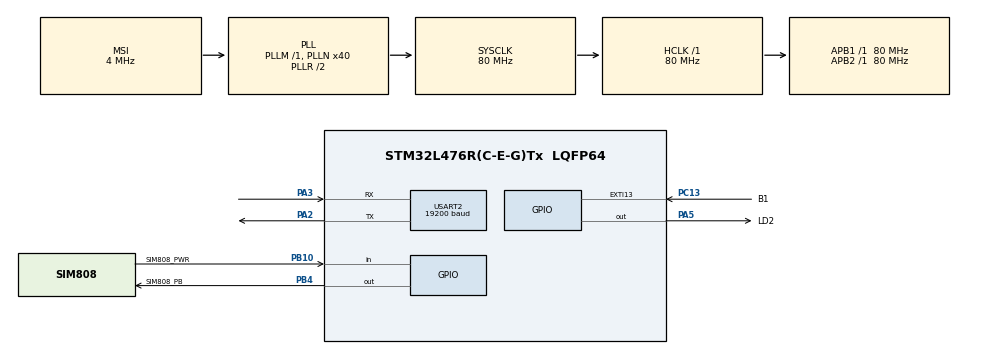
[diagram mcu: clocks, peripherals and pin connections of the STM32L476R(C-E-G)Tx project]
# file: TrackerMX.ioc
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Dma.Request0=USART2_RX
Dma.Request1=USART2_TX
Dma.USART2_RX.0.Direction=DMA_PERIPH_TO_MEMORY
Dma.USART2_RX.0.Instance=DMA1_Channel6
Dma.USART2_RX.0.MemDataAlignment=DMA_MDATAALIGN_BYTE
Dma.USART2_RX.0.MemInc=DMA_MINC_ENABLE
Dma.USART2_RX.0.Mode=DMA_CIRCULAR
Dma.USART2_RX.0.PeriphDataAlignment=DMA_PDATAALIGN_BYTE
Dma.USART2_RX.0.PeriphInc=DMA_PINC_DISABLE
Dma.USART2_RX.0.Priority=DMA_PRIORITY_LOW
Dma.USART2_TX.1.Direction=DMA_MEMORY_TO_PERIPH
Dma.USART2_TX.1.Instance=DMA1_Channel7
Dma.USART2_TX.1.MemDataAlignment=DMA_MDATAALIGN_BYTE
Dma.USART2_TX.1.MemInc=DMA_MINC_ENABLE
Dma.USART2_TX.1.Mode=DMA_CIRCULAR
Dma.USART2_TX.1.PeriphDataAlignment=DMA_PDATAALIGN_BYTE
Dma.USART2_TX.1.PeriphInc=DMA_PINC_DISABLE
Dma.USART2_TX.1.Priority=DMA_PRIORITY_LOW
Mcu.Family=STM32L4
Mcu.Name=STM32L476R(C-E-G)Tx
Mcu.Package=LQFP64
NVIC.DMA1_Channel6_IRQn=true\:15\:0\:true\:false\:true\:false
NVIC.DMA1_Channel7_IRQn=true\:15\:0\:true\:false\:true\:false
NVIC.EXTI15_10_IRQn=true\:15\:0\:true\:false\:true\:true
NVIC.PriorityGroup=NVIC_PRIORITYGROUP_4
PA13\ (JTMS-SWDIO).Mode=Serial_Wire
PA13\ (JTMS-SWDIO).Signal=SYS_JTMS-SWDIO
PA14\ (JTCK-SWCLK).Mode=Serial_Wire
PA14\ (JTCK-SWCLK).Signal=SYS_JTCK-SWCLK
PA2.GPIO_Mode=GPIO_MODE_AF_PP
PA2.GPIO_ModeDefaultPP=GPIO_MODE_AF_PP
PA2.GPIO_PuPd=GPIO_NOPULL
PA2.GPIO_Speed=GPIO_SPEED_FREQ_VERY_HIGH
PA2.Mode=Asynchronous
PA2.Signal=USART2_TX
PA3.GPIO_Mode=GPIO_MODE_AF_PP
PA3.GPIO_ModeDefaultPP=GPIO_MODE_AF_PP
PA3.GPIO_PuPd=GPIO_NOPULL
PA3.GPIO_Speed=GPIO_SPEED_FREQ_VERY_HIGH
PA3.Mode=Asynchronous
PA3.Signal=USART2_RX
PA5.GPIO_Label=LD2
PA5.GPIO_ModeDefaultOutputPP=GPIO_MODE_OUTPUT_PP
PA5.GPIO_PuPd=GPIO_NOPULL
PA5.GPIO_Speed=GPIO_SPEED_FREQ_LOW
PA5.PinState=GPIO_PIN_RESET
PA5.Signal=GPIO_Output
PB10.GPIO_Label=SIM808_PWR
PB10.GPIO_Mode=GPIO_MODE_INPUT
PB10.GPIO_PuPd=GPIO_NOPULL
PB10.Signal=GPIO_Input
PB3\ (JTDO-TRACESWO).Signal=SYS_JTDO-SWO
PB4\ (NJTRST).GPIO_Label=SIM808_PB
PB4\ (NJTRST).GPIO_ModeDefaultOutputPP=GPIO_MODE_OUTPUT_PP
PB4\ (NJTRST).GPIO_PuPd=GPIO_NOPULL
PB4\ (NJTRST).GPIO_Speed=GPIO_SPEED_FREQ_LOW
PB4\ (NJTRST).PinState=GPIO_PIN_RESET
PB4\ (NJTRST).Signal=GPIO_Output
PC13.GPIO_Label=B1
PC13.GPIO_ModeDefaultEXTI=GPIO_MODE_IT_RISING
PC13.GPIO_PuPd=GPIO_NOPULL
PC13.Signal=GPXTI13
PC14-OSC32_IN\ (PC14).Signal=RCC_OSC32_IN
PC15-OSC32_OUT\ (PC15).Signal=RCC_OSC32_OUT
PH0-OSC_IN\ (PH0).Signal=RCC_OSC_IN
PH1-OSC_OUT\ (PH1).Signal=RCC_OSC_OUT
ProjectManager.HeapSize=0x200
ProjectManager.StackSize=0x400
ProjectManager.TargetToolchain=SW4STM32
RCC.AHBFreq_Value=80000000
RCC.APB1Freq_Value=80000000
RCC.APB1TimFreq_Value=80000000
RCC.APB2Freq_Value=80000000
RCC.APB2TimFreq_Value=80000000
RCC.CortexFreq_Value=80000000
RCC.HCLKFreq_Value=80000000
RCC.HSE_VALUE=8000000
RCC.HSI_VALUE=16000000
RCC.LSE_VALUE=32768
RCC.MSI_VALUE=4000000
RCC.PLLN=40
RCC.SYSCLKFreq_VALUE=80000000
RCC.SYSCLKSource=RCC_SYSCLKSOURCE_PLLCLK
RCC.VCOOutputFreq_Value=160000000
USART2.BaudRate=19200
USART2.VirtualMode-Asynchronous=VM_ASYNC
USART2.WordLength=WORDLENGTH_8B
board=NUCLEO-L476RG

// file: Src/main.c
/**
 ******************************************************************************
 * @file           : main.c
 * @brief          : Main program body
 ******************************************************************************
 ** This notice applies to any and all portions of this file
 * that are not between comment pairs USER CODE BEGIN and
 * USER CODE END. Other portions of this file, whether
 * inserted by the user or by software development tools
 * are owned by their respective copyright owners.
 *
 * COPYRIGHT(c) 2018 STMicroelectronics
 *
 * Redistribution and use in source and binary forms, with or without modification,
 * are permitted provided that the following conditions are met:
 *   1. Redistributions of source code must retain the above copyright notice,
 *      this list of conditions and the following disclaimer.
 *   2. Redistributions in binary form must reproduce the above copyright notice,
 *      this list of conditions and the following disclaimer in the documentation
 *      and/or other materials provided with the distribution.
 *   3. Neither the name of STMicroelectronics nor the names of its contributors
 *      may be used to endorse or promote products derived from this software
 *      without specific prior written permission.
 *
 * THIS SOFTWARE IS PROVIDED BY THE COPYRIGHT HOLDERS AND CONTRIBUTORS "AS IS"
 * AND ANY EXPRESS OR IMPLIED WARRANTIES, INCLUDING, BUT NOT LIMITED TO, THE
 * IMPLIED WARRANTIES OF MERCHANTABILITY AND FITNESS FOR A PARTICULAR PURPOSE ARE
 * DISCLAIMED. IN NO EVENT SHALL THE COPYRIGHT HOLDER OR CONTRIBUTORS BE LIABLE
 * FOR ANY DIRECT, INDIRECT, INCIDENTAL, SPECIAL, EXEMPLARY, OR CONSEQUENTIAL
 * DAMAGES (INCLUDING, BUT NOT LIMITED TO, PROCUREMENT OF SUBSTITUTE GOODS OR
 * SERVICES; LOSS OF USE, DATA, OR PROFITS; OR BUSINESS INTERRUPTION) HOWEVER
 * CAUSED AND ON ANY THEORY OF LIABILITY, WHETHER IN CONTRACT, STRICT LIABILITY,
 * OR TORT (INCLUDING NEGLIGENCE OR OTHERWISE) ARISING IN ANY WAY OUT OF THE USE
 * OF THIS SOFTWARE, EVEN IF ADVISED OF THE POSSIBILITY OF SUCH DAMAGE.
 *
 ******************************************************************************
 */
#include "main.h"
#include "stm32l4xx_hal.h"

/* USER CODE BEGIN Includes */
#include "string.h"
#include "minmea.h"
/* USER CODE END Includes */

UART_HandleTypeDef huart2;
DMA_HandleTypeDef hdma_usart2_rx;
DMA_HandleTypeDef hdma_usart2_tx;

/* USER CODE BEGIN PV */
/* Private variables ---------------------------------------------------------*/
__IO ITStatus UartReady = RESET;
__IO uint32_t UserButtonStatus = 0; /* set to 1 after User Button interrupt  */
static uint8_t rx_dma_circ_buf[CIRC_BUF_SZ];
static uint32_t rd_ptr;
char OK_FLAG = 0;
char STAT_FLAG = 0;
char ERR_FLAG = 0;
char CONN_FLAG = 0;
char data_string[75];
uint8_t pos = 0;
uint8_t loops = 0;
uint8_t rxString[MAXLEN];
uint8_t rmc_raw[MAXLEN];
struct minmea_sentence_rmc frame_rmc;
struct minmea_sentence_gga frame_gga;
struct minmea_sentence_gsa frame_gsa;
struct minmea_sentence_gsv frame_gsv;

/* USER CODE END PV */

void SystemClock_Config(void);
static void MX_GPIO_Init(void);
static void MX_DMA_Init(void);
static void MX_USART2_UART_Init(void);

/* USER CODE BEGIN PFP */
/* Private function prototypes -----------------------------------------------*/
extern void initialise_monitor_handles(void);
void send(char string[]);     //TODO: set up struct to hold return of command
void http_get(char data[]);
void gprs_connect(void);
void blink(uint8_t n);
static void msgrx_parse(void);
//void executeSerialCommand(uint8_t string[]);
/* USER CODE END PFP */

int main(void) {

	/* MCU Configuration----------------------------------------------------------*/

	/* Reset of all peripherals, Initializes the Flash interface and the Systick. */
	HAL_Init();

	/* Configure the system clock */
	SystemClock_Config();

	/* Initialize all configured peripherals */
	MX_GPIO_Init();
	MX_DMA_Init();
	MX_USART2_UART_Init();
	/* USER CODE BEGIN 2 */
	/* enable printing messages to console */
	//initialise_monitor_handles();
	while (UserButtonStatus == 0) {
		HAL_GPIO_WritePin(LD2_GPIO_Port, LD2_Pin, SET);
		HAL_Delay(50);
		HAL_GPIO_WritePin(LD2_GPIO_Port, LD2_Pin, RESET);
		HAL_Delay(50);
	}

	/* Start the receiver */
	__HAL_UART_SEND_REQ(&huart2, UART_RXDATA_FLUSH_REQUEST);
	HAL_UART_Receive_DMA(&huart2, rx_dma_circ_buf, CIRC_BUF_SZ);
	rd_ptr = 0;

	//printf("Init\n");
	blink(5);

	HAL_Delay(1000);
	blink(5);

	HAL_GPIO_WritePin(LD2_GPIO_Port, LD2_Pin, GPIO_PIN_RESET);
	//printf("Start the module!\n");
	send("\n\rAT+CGPSOUT=0\n\r");
	//printf("[SEND] AT+CGPSOUT=0\n");
	send("\n\rAT\n\r");

	//printf("[SEND] AT\n");
	send("\n\rAT+CGPSPWR=1\n\r");
	//printf("[SEND] AT+CGPSPWR=1\n");
	//send("\n\rAT+CGPSRST=0\n\r");
	////printf("[SEND] AT+CGPSRST=0\n");
	send("\n\rAT+CGPSOUT=255\n\r");
	//printf("[SEND] AT+CGPSOUT=255\n");
	HAL_Delay(500);
	msgrx_parse();

	/* USER CODE END 2 */
	/* Infinite loop */
	/* USER CODE BEGIN WHILE */
	while (1) {
		uint8_t i = 0;
		HAL_Delay(1000);
		msgrx_parse();
		HAL_Delay(1000);

		for (i = 0; i < frame_gsv.total_sats; i++) {
			HAL_GPIO_WritePin(LD2_GPIO_Port, LD2_Pin, SET);
			HAL_Delay(200);
			HAL_GPIO_WritePin(LD2_GPIO_Port, LD2_Pin, RESET);
			HAL_Delay(200);
			if (i > 3) {
				break;
			}
		}
		msgrx_parse();
		//printf(rmc_raw);
		//printf("  (RAW) \n");
		/*

		 sprintf(data_string,
		 "%02i%02i%02i.000,%09.4f,%010.4f,%.1f,%.1f,%i,%.2f,%.2f,%.2f,%02i%02i%02i,%02i",
		 frame_rmc.time.hours, frame_rmc.time.minutes,
		 frame_rmc.time.seconds, minmea_tofloat(&frame_rmc.latitude),
		 minmea_tofloat(&frame_rmc.longitude),
		 minmea_tofloat(&frame_gga.hdop),
		 minmea_tofloat(&frame_gga.altitude), frame_gsa.fix_type,
		 minmea_tofloat(&frame_rmc.course),
		 minmea_tofloat(&frame_rmc.speed) * 1.852001,
		 minmea_tofloat(&frame_rmc.speed), frame_rmc.date.day,
		 frame_rmc.date.month, frame_rmc.date.year,
		 frame_gga.satellites_tracked);
		 */
		if (frame_gsa.fix_type == 3 || frame_gsa.fix_type == 2) {
			send("\n\rAT+CGPSOUT=0\n\r");
			//printf("[SEND] AT+CGPSOUT=0\n"); //Stop GPS Data output to free up serial bus.
			//printf("[SEND] AT+SAPBR=2,1\n");
			send("AT+SAPBR=2,1\n\r");
			if (CONN_FLAG == 0 || CONN_FLAG == 3) {
				gprs_connect();
				CONN_FLAG = 0;
			}
			http_get(rmc_raw);
			send("\n\rAT+CGPSOUT=255\n\r");
			//printf("[SEND] AT+CGPSOUT=255\n");
		}

		if (loops > 600 && frame_gga.satellites_tracked < 1) {
			//printf("[SEND] AT+CGPSRST=0\n");
			send("AT+CGPSRST=0\r\n");
			loops = 0;
		}
		loops++;

		/* USER CODE END WHILE */

	}
}
void SystemClock_Config(void) {

	RCC_OscInitTypeDef RCC_OscInitStruct;
	RCC_ClkInitTypeDef RCC_ClkInitStruct;
	RCC_PeriphCLKInitTypeDef PeriphClkInit;

	/**Initializes the CPU, AHB and APB busses clocks
	 */
	RCC_OscInitStruct.OscillatorType = RCC_OSCILLATORTYPE_MSI;
	RCC_OscInitStruct.MSIState = RCC_MSI_ON;
	RCC_OscInitStruct.MSICalibrationValue = 0;
	RCC_OscInitStruct.MSIClockRange = RCC_MSIRANGE_6;
	RCC_OscInitStruct.PLL.PLLState = RCC_PLL_ON;
	RCC_OscInitStruct.PLL.PLLSource = RCC_PLLSOURCE_MSI;
	RCC_OscInitStruct.PLL.PLLM = 1;
	RCC_OscInitStruct.PLL.PLLN = 40;
	RCC_OscInitStruct.PLL.PLLP = RCC_PLLP_DIV7;
	RCC_OscInitStruct.PLL.PLLQ = RCC_PLLQ_DIV2;
	RCC_OscInitStruct.PLL.PLLR = RCC_PLLR_DIV2;
	if (HAL_RCC_OscConfig(&RCC_OscInitStruct) != HAL_OK) {
		_Error_Handler(__FILE__, __LINE__);
	}

	/**Initializes the CPU, AHB and APB busses clocks
	 */
	RCC_ClkInitStruct.ClockType = RCC_CLOCKTYPE_HCLK | RCC_CLOCKTYPE_SYSCLK
			| RCC_CLOCKTYPE_PCLK1 | RCC_CLOCKTYPE_PCLK2;
	RCC_ClkInitStruct.SYSCLKSource = RCC_SYSCLKSOURCE_PLLCLK;
	RCC_ClkInitStruct.AHBCLKDivider = RCC_SYSCLK_DIV1;
	RCC_ClkInitStruct.APB1CLKDivider = RCC_HCLK_DIV1;
	RCC_ClkInitStruct.APB2CLKDivider = RCC_HCLK_DIV1;

	if (HAL_RCC_ClockConfig(&RCC_ClkInitStruct, FLASH_LATENCY_4) != HAL_OK) {
		_Error_Handler(__FILE__, __LINE__);
	}

	PeriphClkInit.PeriphClockSelection = RCC_PERIPHCLK_USART2;
	PeriphClkInit.Usart2ClockSelection = RCC_USART2CLKSOURCE_PCLK1;
	if (HAL_RCCEx_PeriphCLKConfig(&PeriphClkInit) != HAL_OK) {
		_Error_Handler(__FILE__, __LINE__);
	}

	/**Configure the main internal regulator output voltage
	 */
	if (HAL_PWREx_ControlVoltageScaling(PWR_REGULATOR_VOLTAGE_SCALE1)
			!= HAL_OK) {
		_Error_Handler(__FILE__, __LINE__);
	}

	/**Configure the Systick interrupt time
	 */
	HAL_SYSTICK_Config(HAL_RCC_GetHCLKFreq() / 1000);

	/**Configure the Systick
	 */
	HAL_SYSTICK_CLKSourceConfig(SYSTICK_CLKSOURCE_HCLK);

	/* SysTick_IRQn interrupt configuration */
	HAL_NVIC_SetPriority(SysTick_IRQn, 0, 0);
}

/* USART2 init function */
static void MX_USART2_UART_Init(void) {

	huart2.Instance = USART2;
	huart2.Init.BaudRate = 19200;
	huart2.Init.WordLength = UART_WORDLENGTH_8B;
	huart2.Init.StopBits = UART_STOPBITS_1;
	huart2.Init.Parity = UART_PARITY_NONE;
	huart2.Init.Mode = UART_MODE_TX_RX;
	huart2.Init.HwFlowCtl = UART_HWCONTROL_NONE;
	huart2.Init.OverSampling = UART_OVERSAMPLING_16;
	huart2.Init.OneBitSampling = UART_ONE_BIT_SAMPLE_DISABLE;
	huart2.AdvancedInit.AdvFeatureInit = UART_ADVFEATURE_NO_INIT;
	if (HAL_UART_Init(&huart2) != HAL_OK) {
		_Error_Handler(__FILE__, __LINE__);
	}

}

static void MX_DMA_Init(void) {
	/* DMA controller clock enable */
	__HAL_RCC_DMA1_CLK_ENABLE()
	;

	/* DMA interrupt init */
	/* DMA1_Channel6_IRQn interrupt configuration */
	HAL_NVIC_SetPriority(DMA1_Channel6_IRQn, 15, 0);
	HAL_NVIC_EnableIRQ(DMA1_Channel6_IRQn);
	/* DMA1_Channel7_IRQn interrupt configuration */
	HAL_NVIC_SetPriority(DMA1_Channel7_IRQn, 15, 0);
	HAL_NVIC_EnableIRQ(DMA1_Channel7_IRQn);

}

/** Configure pins as
 * Analog
 * Input
 * Output
 * EVENT_OUT
 * EXTI
 * Free pins are configured automatically as Analog (this feature is enabled through
 * the Code Generation settings)
 */
static void MX_GPIO_Init(void) {

	GPIO_InitTypeDef GPIO_InitStruct;

	/* GPIO Ports Clock Enable */
	__HAL_RCC_GPIOC_CLK_ENABLE()
	;
	__HAL_RCC_GPIOH_CLK_ENABLE()
	;
	__HAL_RCC_GPIOA_CLK_ENABLE()
	;
	__HAL_RCC_GPIOB_CLK_ENABLE()
	;
	__HAL_RCC_GPIOD_CLK_ENABLE()
	;

	/*Configure GPIO pin Output Level */
	HAL_GPIO_WritePin(LD2_GPIO_Port, LD2_Pin, GPIO_PIN_RESET);

	/*Configure GPIO pin Output Level */
	HAL_GPIO_WritePin(SIM808_PB_GPIO_Port, SIM808_PB_Pin, GPIO_PIN_RESET);

	/*Configure GPIO pin : B1_Pin */
	GPIO_InitStruct.Pin = B1_Pin;
	GPIO_InitStruct.Mode = GPIO_MODE_IT_RISING;
	GPIO_InitStruct.Pull = GPIO_NOPULL;
	HAL_GPIO_Init(B1_GPIO_Port, &GPIO_InitStruct);

	/*Configure GPIO pins : PC0 PC1 PC2 PC3
	 PC4 PC5 PC6 PC7
	 PC8 PC9 PC10 PC11
	 PC12 */
	GPIO_InitStruct.Pin = GPIO_PIN_0 | GPIO_PIN_1 | GPIO_PIN_2 | GPIO_PIN_3
			| GPIO_PIN_4 | GPIO_PIN_5 | GPIO_PIN_6 | GPIO_PIN_7 | GPIO_PIN_8
			| GPIO_PIN_9 | GPIO_PIN_10 | GPIO_PIN_11 | GPIO_PIN_12;
	GPIO_InitStruct.Mode = GPIO_MODE_ANALOG;
	GPIO_InitStruct.Pull = GPIO_NOPULL;
	HAL_GPIO_Init(GPIOC, &GPIO_InitStruct);

	/*Configure GPIO pins : PA0 PA1 PA4 PA6
	 PA7 PA8 PA9 PA10
	 PA11 PA12 PA15 */
	GPIO_InitStruct.Pin = GPIO_PIN_0 | GPIO_PIN_1 | GPIO_PIN_4 | GPIO_PIN_6
			| GPIO_PIN_7 | GPIO_PIN_8 | GPIO_PIN_9 | GPIO_PIN_10 | GPIO_PIN_11
			| GPIO_PIN_12 | GPIO_PIN_15;
	GPIO_InitStruct.Mode = GPIO_MODE_ANALOG;
	GPIO_InitStruct.Pull = GPIO_NOPULL;
	HAL_GPIO_Init(GPIOA, &GPIO_InitStruct);

	/*Configure GPIO pin : LD2_Pin */
	GPIO_InitStruct.Pin = LD2_Pin;
	GPIO_InitStruct.Mode = GPIO_MODE_OUTPUT_PP;
	GPIO_InitStruct.Pull = GPIO_NOPULL;
	GPIO_InitStruct.Speed = GPIO_SPEED_FREQ_LOW;
	HAL_GPIO_Init(LD2_GPIO_Port, &GPIO_InitStruct);

	/*Configure GPIO pins : PB0 PB1 PB2 PB11
	 PB12 PB13 PB14 PB15
	 PB5 PB6 PB7 PB8
	 PB9 */
	GPIO_InitStruct.Pin =
	GPIO_PIN_0 | GPIO_PIN_1 | GPIO_PIN_2 | GPIO_PIN_11 | GPIO_PIN_12
			| GPIO_PIN_13 | GPIO_PIN_14 | GPIO_PIN_15 | GPIO_PIN_5 | GPIO_PIN_6
			| GPIO_PIN_7 | GPIO_PIN_8 | GPIO_PIN_9;
	GPIO_InitStruct.Mode = GPIO_MODE_ANALOG;
	GPIO_InitStruct.Pull = GPIO_NOPULL;
	HAL_GPIO_Init(GPIOB, &GPIO_InitStruct);

	/*Configure GPIO pin : SIM808_PWR_Pin */
	GPIO_InitStruct.Pin = SIM808_PWR_Pin;
	GPIO_InitStruct.Mode = GPIO_MODE_INPUT;
	GPIO_InitStruct.Pull = GPIO_NOPULL;
	HAL_GPIO_Init(SIM808_PWR_GPIO_Port, &GPIO_InitStruct);

	/*Configure GPIO pin : PD2 */
	GPIO_InitStruct.Pin = GPIO_PIN_2;
	GPIO_InitStruct.Mode = GPIO_MODE_ANALOG;
	GPIO_InitStruct.Pull = GPIO_NOPULL;
	HAL_GPIO_Init(GPIOD, &GPIO_InitStruct);

	/*Configure GPIO pin : SIM808_PB_Pin */
	GPIO_InitStruct.Pin = SIM808_PB_Pin;
	GPIO_InitStruct.Mode = GPIO_MODE_OUTPUT_PP;
	GPIO_InitStruct.Pull = GPIO_NOPULL;
	GPIO_InitStruct.Speed = GPIO_SPEED_FREQ_LOW;
	HAL_GPIO_Init(SIM808_PB_GPIO_Port, &GPIO_InitStruct);

	/* EXTI interrupt init*/
	HAL_NVIC_SetPriority(EXTI15_10_IRQn, 15, 0);
	HAL_NVIC_EnableIRQ(EXTI15_10_IRQn);

}

/* USER CODE BEGIN 4 */

void blink(uint8_t n) {
	uint8_t i = 0;
	for (i = 0; i < n; i++) {
		HAL_GPIO_WritePin(LD2_GPIO_Port, LD2_Pin, SET);
		HAL_Delay(100);
		HAL_GPIO_WritePin(LD2_GPIO_Port, LD2_Pin, RESET);
		if (n != i + 1)
			HAL_Delay(200);
	}
}

static uint8_t msgrx_circ_buf_get(void) {
	uint8_t c = 0;
	if (rd_ptr != DMA_WRITE_PTR) {
		c = rx_dma_circ_buf[rd_ptr++];
		rd_ptr &= (CIRC_BUF_SZ - 1);
	}
	return c;
}

static void msgrx_parse(void) {

	uint8_t c = 0;
	uint16_t i = 0;
	uint16_t count = 0;

	//check if new data is in buffer
	while (count < CIRC_BUF_SZ + 1) {
		if (rd_ptr == DMA_WRITE_PTR) {
			break;
		}
		c = msgrx_circ_buf_get();
		//find beginning of message
		if (c == '\n') {
			c = msgrx_circ_buf_get();
			if (c == '$') {
				for (i = 0; i < MAXLEN; i++) {
					rxString[i] = 0; // Clear the string buffer
				}
				for (i = 0; i < MAXLEN; i++) {
					//detect end of message
					if (c == '\n') {
						rxString[i] = c;
						rxString[i + 1] = '\0';
						// detect type of message
						switch (minmea_sentence_id(rxString, false)) {
						case MINMEA_SENTENCE_RMC: {
							if (minmea_parse_rmc(&frame_rmc, rxString)) {
								for (i = 0; i < MAXLEN; i++) {
									if (rxString[i] == '\r')
										break;
									rmc_raw[i] = rxString[i];
								}
							}
							break;
						}
						case MINMEA_SENTENCE_GGA: {
							if (minmea_parse_gga(&frame_gga, rxString)) {

							}
							break;
						}
						case MINMEA_SENTENCE_GSA: {
							if (minmea_parse_gsa(&frame_gsa, rxString)) {

							}

							break;
						}
						case MINMEA_SENTENCE_GSV: {
							if (minmea_parse_gsv(&frame_gsv, rxString)) {

							}

							break;
						}
						}
						break;
					} else {
						rxString[i] = c;
					}
					c = msgrx_circ_buf_get();
				}

			} else if (c == '>') {
				OK_FLAG = 1;
			} else if (c == 'O') {
				c = msgrx_circ_buf_get();
				if (c == 'K') {
					OK_FLAG = 1;
				}

			} else if (c == 'E') {
				c = msgrx_circ_buf_get();
				if (c == 'R') {
					c = msgrx_circ_buf_get();
					if (c == 'R') {
						ERR_FLAG = 1;
					}
				}

			} else if (c == '+') {
				for (i = 0; i < 20; i++) {
					c = msgrx_circ_buf_get();
					if (c == ' ') {
						c = msgrx_circ_buf_get();
						if (c == '0') {
							STAT_FLAG = 0;
							c = msgrx_circ_buf_get();
							if (c == ',') {
								c = msgrx_circ_buf_get();
								if (c == '2') {
									CONN_FLAG = 2;
									break;
								}
								break;
							}
							break;
						} else if (c == '1') {
							STAT_FLAG = 1;
							c = msgrx_circ_buf_get();
							if (c == ',') {
								c = msgrx_circ_buf_get();
								if (c == '1') {
									CONN_FLAG = 1;
									break;
								} else {
									CONN_FLAG = 0;
								}

							} else {
								break;
							}
						} else {
							break;
						}
					}
				}
			}
		}
		count++;
	}
	__HAL_UART_FLUSH_DRREGISTER(&huart2);  //clear buffer after reading

}

/* Prints the supplied string to UART and checks for OK*/
void send(char string[]) {
	uint8_t i = 0;
	uint8_t try = 0;
	HAL_UART_Transmit(&huart2, (uint8_t*) string, strlen(string), 500);
	for (try = 0; try < 3; try++) {
		//retry sending 3 times
		OK_FLAG = 0;
		ERR_FLAG = 0;
		STAT_FLAG = 0;
		CONN_FLAG = 0;
		if (try == 2) {
			//printf("[ERROR] No OK received\n");
			blink(4);
		}
		for (i = 0; i < 200; i++) { //wait for 10 seconds for response before retrying
			msgrx_parse();
			HAL_Delay(50);
			if (OK_FLAG == 1 || CONN_FLAG != 0 || STAT_FLAG == 1) {
				blink(1);
				break;
			} else if (ERR_FLAG == 1) {
				//printf("ERROR\n");
				blink(2);
				HAL_Delay(500);
				ERR_FLAG = 0;
				blink(2);
				break;
			}
		}
		if (OK_FLAG == 1 || STAT_FLAG == 1 || CONN_FLAG != 0) {
			break;
		}
		HAL_UART_Transmit(&huart2, (uint8_t*) string, strlen(string), 500);

	}
	OK_FLAG = 0;
}

void wait_http(void) {		//waits up to 40 seconds for HTTP 200
	uint8_t i = 0;
	CONN_FLAG = 0;
	for (i = 0; i < 200; i++) {
		msgrx_parse();
		if (CONN_FLAG == 2)
			break;
		HAL_Delay(200);

	}
	if (CONN_FLAG == 0)
		//printf("[ERROR] No 200 received\n");
	CONN_FLAG = 0;
}

void gprs_connect(void) {
	uint8_t i = 0;
	send("\n\rAT+CSTT=pinternet.interkom.de\n\r");
	//printf("[SEND] AT+CSTT=pinternet.interkom.de\n");
	send("\n\rAT+CIICR\n\r");
	//printf("[SEND] AT+CIICR\n");
	send("\n\rAT+CGATT?\n\r");
	//printf("[SEND] AT+CGATT?\n");
	if (STAT_FLAG != 1) {
		send("\n\rAT+CFUN=1,1\n\r");
		//printf("[SEND] AT+CFUN=1,1\n");
		HAL_Delay(3000);

		send("\n\rAT+CIICR\n\r");
		//printf("[SEND] AT+CIICR\n");
	}

	//printf("[SEND] AT+CGATT?\n");
	send("\n\rAT+CGATT?\n\r");
	if (STAT_FLAG != 1) {
		//printf("[SEND] AT+CGATT=1\n");

		send("AT+CGATT=1\n\r");

	}
	STAT_FLAG = 0;
	//printf("[SEND] AT+CFUN?\n");
	send("AT+CFUN?\n\r");
	if (STAT_FLAG != 1) {
		//printf("[SEND] AT+CFUN=1,1\n");
		send("AT+CFUN=1,1\n\r");
	}
	STAT_FLAG = 0;

	for (i = 0; i < 3; i++) {
		//printf("[SEND] AT+SAPBR=2,1\n");
		send("AT+SAPBR=2,1\n\r");
		if (CONN_FLAG != 1) {
			send("AT+SAPBR=3,1,\"Contype\",\"GPRS\"\n\n\r");
			//printf("[SEND] AT+SAPBR=3,1,\"Contype\",\"GPRS\"\n");
			send("AT+SAPBR=3,1,\"APN\",\"pinternet.interkom.de\"\n\r");
			//printf("[SEND] AT+SAPBR=3,1,\"APN\",\"pinternet.interkom.de\"\n");
			send("AT+SAPBR=1,1\n\r");
			//printf("[SEND] AT+SAPBR=1,1\n");
		} else if (CONN_FLAG == 1) {
			CONN_FLAG = 0;

			send("AT+HTTPINIT\n\r");
			//printf("[SEND] AT+HTTPINIT\n");
			send("AT+HTTPPARA=\"CID\",1\n\r");
			//printf("[SEND] AT+HTTPPARA=\"CID\",1\n");
			break;
		}
	}
	send("AT+HTTPINIT\n\r");
	//printf("[SEND] AT+HTTPINIT\n");
	send("AT+HTTPPARA=\"CID\",1\n\r");
	//printf("[SEND] AT+HTTPPARA=\"CID\",1\n");
	HAL_Delay(2000);

	STAT_FLAG = 0;
	CONN_FLAG = 0;
}

void http_get(char data[]) {
	char string[strlen(data) + 100];
	if (CONN_FLAG != 1) {
		//printf("[SEND] AT+SAPBR=0,1\n");
		send("AT+SAPBR=0,1\n\r");
		HAL_Delay(500);
		//printf("[SEND] AT+SAPBR=1,1\n");
		send("AT+SAPBR=1,1\n\r");
		HAL_Delay(500);
	}
	sprintf(string,
			"AT+HTTPPARA=\"URL\",\"http://picotracker.ga:8080/gprmc/Data?id=bike&code=0xF020&gprmc=%s\"\n\r",
			data);

	send(string);
	//printf(string);
	if (ERR_FLAG == 1) {
		send("AT+HTTPINIT\n\r");
		//printf("[SEND] AT+HTTPINIT\n");
		send("AT+HTTPPARA=\"CID\",1\n\r");
		//printf("[SEND] AT+HTTPPARA=\"CID\",1\n");
		ERR_FLAG = 0;
		HAL_Delay(2000);
	}
	HAL_Delay(1000);
	send("AT+HTTPACTION=0\n\r");
	//printf("AT+HTTPACTION=0\n");
	wait_http();
	HAL_Delay(500);

}

/**
 * @brief EXTI line detection callbacksp
 * @param GPIO_Pin: Specifies the pins connected EXTI line
 * @retval None
 */
void HAL_GPIO_EXTI_Callback(uint16_t GPIO_Pin) {
	if (GPIO_Pin == B1_Pin) {
		UserButtonStatus = 1;
	}
}

/* UART TX complete callback */

void HAL_UART_TxCpltCallback(UART_HandleTypeDef *UartHandle) {

}

/* UART RX complete callback */
void HAL_UART_RxCpltCallback(UART_HandleTypeDef *huart) {
	msgrx_parse();
}

/* USER CODE END 4 */

void _Error_Handler(char *file, int line) {
	/* USER CODE BEGIN Error_Handler_Debug */
	/* User can add his own implementation to report the HAL error return state */
	//printf("\r\n[ERROR] Unspecified error");
	while (1) {
		HAL_GPIO_TogglePin(LD2_GPIO_Port, LD2_Pin);
		HAL_Delay(500);
	}
	/* USER CODE END Error_Handler_Debug */
}

#ifdef  USE_FULL_ASSERT
/**
 * @brief  Reports the name of the source file and the source line number
 *         where the assert_param error has occurred.
 * @param  file: pointer to the source file name
 * @param  line: assert_param error line source number
 * @retval None
 */
void assert_failed(uint8_t* file, uint32_t line)
{
	/* USER CODE BEGIN 6 */
	/* User can add his own implementation to report the file name and line number,
	 ex: //printf("Wrong 	OK_FLAG = 0;
	 parameters value: file %s on line %d\r\n", file, line) */
	/* USER CODE END 6 */
}
#endif /* USE_FULL_ASSERT */

/************************ (C) COPYRIGHT STMicroelectronics *****END OF FILE****/
